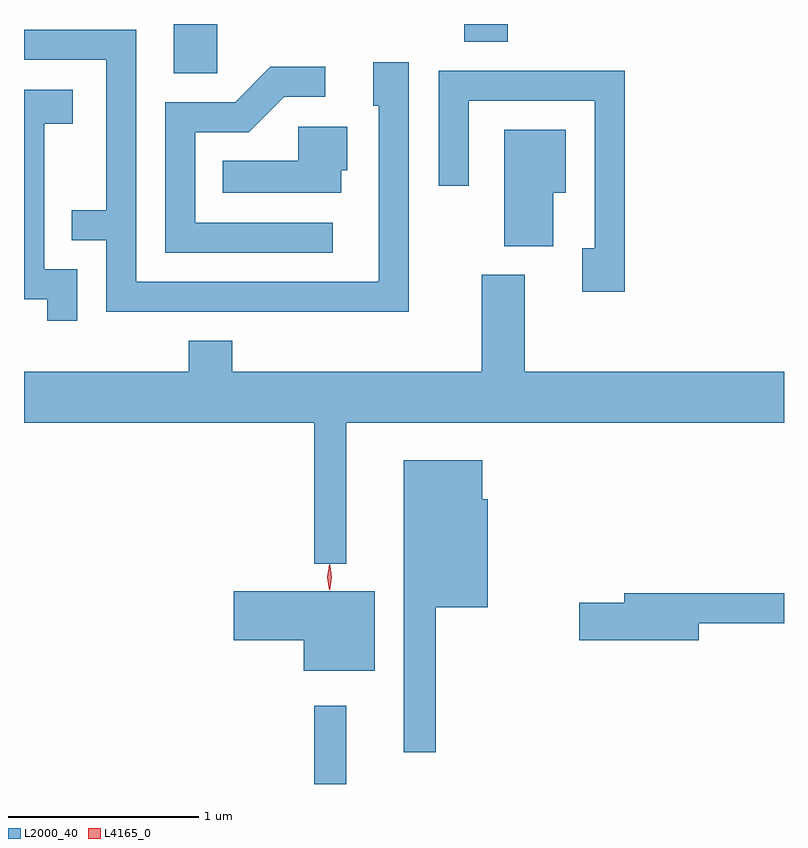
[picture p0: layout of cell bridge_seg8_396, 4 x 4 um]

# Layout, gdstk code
import gdstk
lib = gdstk.Library(unit=1e-6, precision=1e-09)
def R(c, l, rs):  # rectangles x0, y0, x1, y1
    for r in rs: c.add(gdstk.rectangle(r[:2], r[2:], *l))
def P(c, l, *ps):  # polygons
    for p in ps: c.add(gdstk.Polygon(p, *l))
L2000_40 = (2000, 40)
L4165_0 = (4165, 0)

bridge_seg8_396 = lib.new_cell('bridge_seg8_396')
R(bridge_seg8_396, L2000_40, [(711.891,1872.255,712.059,1872.668), (711.151,1875.996,711.379,1876.255), (712.681,1876.161,712.909,1876.255)])
P(bridge_seg8_396, L2000_40, [(712.389,1876.054),(712.201,1876.054),(712.201,1875.826),(712.231,1875.826),(712.231,1874.899),(710.954,1874.899),(710.954,1876.224),(710.363,1876.224),(710.363,1876.066),(710.796,1876.066),(710.796,1875.274),(710.613,1875.274),(710.613,1875.116),(710.796,1875.116),(710.796,1874.741),(712.389,1874.741)],
  [(711.988,1875.209),(711.264,1875.209),(711.264,1875.686),(711.547,1875.686),(711.732,1875.871),(711.948,1875.871),(711.948,1876.029),(711.659,1876.029),(711.474,1875.844),(711.106,1875.844),(711.106,1875.051),(711.988,1875.051)],
  [(713.524,1876.009),(712.546,1876.009),(712.546,1875.403),(712.704,1875.403),(712.704,1875.851),(713.366,1875.851),(713.366,1875.074),(713.301,1875.074),(713.301,1874.846),(713.524,1874.846)],
  [(710.644,1874.964),(710.469,1874.964),(710.469,1875.731),(710.619,1875.731),(710.619,1875.909),(710.363,1875.909),(710.363,1874.806),(710.486,1874.806),(710.486,1874.693),(710.644,1874.693)],
  [(712.034,1875.486),(712.064,1875.486),(712.064,1875.714),(711.806,1875.714),(711.806,1875.534),(711.408,1875.534),(711.408,1875.366),(712.034,1875.366)],
  [(713.149,1875.366),(713.214,1875.366),(713.214,1875.699),(712.891,1875.699),(712.891,1875.086),(713.149,1875.086)],
  [(712.059,1874.156),(714.363,1874.156),(714.363,1874.424),(712.999,1874.424),(712.999,1874.934),(712.771,1874.934),(712.771,1874.424),(711.459,1874.424),(711.459,1874.589),(711.231,1874.589),(711.231,1874.424),(710.363,1874.424),(710.363,1874.156),(711.891,1874.156),(711.891,1873.413),(712.059,1873.413)],
  [(712.529,1873.186),(712.804,1873.186),(712.804,1873.754),(712.774,1873.754),(712.774,1873.959),(712.361,1873.959),(712.361,1872.423),(712.529,1872.423)],
  [(712.209,1873.269),(711.466,1873.269),(711.466,1873.011),(711.836,1873.011),(711.836,1872.851),(712.209,1872.851)],
  [(713.914,1873.101),(714.363,1873.101),(714.363,1873.259),(713.521,1873.259),(713.521,1873.209),(713.286,1873.209),(713.286,1873.011),(713.914,1873.011)])
P(bridge_seg8_396, L4165_0, [(711.969,1873.274),(711.969,1873.274),(711.96,1873.342),(711.97,1873.41),(711.971,1873.41),(711.971,1873.41),(711.98,1873.342),(711.97,1873.274)],
  [(711.972,1873.28),(711.963,1873.343),(711.972,1873.406),(711.973,1873.407),(711.974,1873.406),(711.983,1873.343),(711.974,1873.28),(711.973,1873.28)])

lib.write_gds('bridge_seg8_396.gds')
